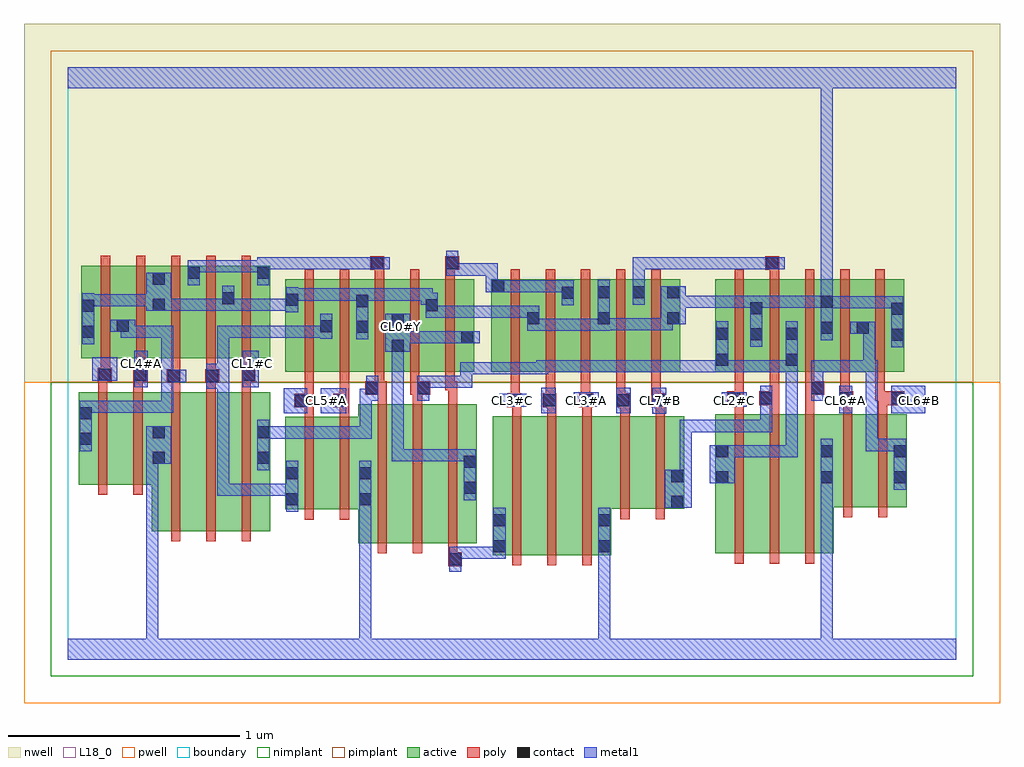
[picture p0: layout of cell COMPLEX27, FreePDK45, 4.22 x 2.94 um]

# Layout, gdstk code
import gdstk
lib = gdstk.Library(unit=1e-6, precision=1e-09)
def R(c, l, rs):  # rectangles x0, y0, x1, y1
    for r in rs: c.add(gdstk.rectangle(r[:2], r[2:], *l))
def A(c, l, x, y, w, h, nx, ny, dx, dy):  # array of equal rectangles
    R(c, l, [(x+i*dx, y+j*dy, x+i*dx+w, y+j*dy+h) for i in range(nx) for j in range(ny)])
active = (1, 0)
pwell = (2, 0)
nwell = (3, 0)
nimplant = (4, 0)
pimplant = (5, 0)
poly = (9, 0)
contact = (10, 0)
metal1 = (11, 0)
L18_0 = (18, 0)
boundary = (235, 0)

complex27 = lib.new_cell('COMPLEX27')
R(complex27, active, [(1.836,0.452,1.896,1.052), (1.836,0.452,2.016,1.052), (2.016,0.452,2.168,1.052), (2.168,0.452,2.348,1.052), (2.288,0.452,2.348,0.652), (2.798,0.46,2.858,1.06), (2.798,0.46,2.978,1.06), (2.978,0.46,3.13,1.06), (3.13,0.46,3.31,1.06), (3.25,0.46,3.31,1.06), (1.256,0.504,1.436,1.104), (1.256,0.504,1.316,0.836), (1.436,0.504,1.588,1.104), (1.588,0.504,1.768,1.104), (1.708,0.524,1.768,1.104), (0.364,0.556,0.424,1.156), (0.364,0.556,0.544,1.156), (0.544,0.556,0.696,1.156), (0.696,0.556,0.876,1.156), (0.816,0.556,0.876,1.156), (0.94,0.65,1,1.05), (0.94,0.65,1.12,1.05), (1.12,0.65,1.316,1.05), (2.288,0.652,2.484,1.052), (2.484,0.652,2.664,1.052), (2.604,0.652,2.664,1.052), (3.25,0.66,3.446,1.06), (3.446,0.66,3.626,1.06), (3.566,0.66,3.626,1.06), (0.048,0.756,0.108,1.156), (0.048,0.756,0.228,1.156), (0.228,0.756,0.424,1.156), (0.94,1.244,1,1.644), (0.94,1.244,1.148,1.644), (1.088,1.244,1.148,1.644), (1.088,1.244,1.304,1.644), (1.244,1.244,1.304,1.644), (1.244,1.244,1.456,1.644), (1.396,1.244,1.456,1.644), (1.396,1.244,1.604,1.644), (1.544,1.244,1.604,1.644), (1.544,1.244,1.756,1.644), (1.696,1.244,1.756,1.644), (1.83,1.244,2.042,1.644), (1.982,1.244,2.19,1.644), (2.13,1.244,2.346,1.644), (2.286,1.244,2.498,1.644), (2.438,1.244,2.646,1.644), (2.586,1.244,2.646,1.644), (2.798,1.244,2.858,1.644), (2.798,1.244,3.006,1.644), (2.946,1.244,3.158,1.644), (3.098,1.244,3.158,1.644), (3.098,1.244,3.31,1.644), (3.25,1.244,3.466,1.644), (3.406,1.244,3.614,1.644), (3.554,1.244,3.614,1.644), (0.06,1.302,0.12,1.702), (0.06,1.302,0.268,1.702), (0.208,1.302,0.424,1.702), (0.364,1.302,0.424,1.702), (0.364,1.302,0.576,1.702), (0.516,1.302,0.576,1.702), (0.516,1.302,0.724,1.702), (0.664,1.302,0.724,1.702), (0.664,1.302,0.876,1.702), (0.816,1.302,0.876,1.702), (2.946,1.336,3.006,1.644), (3.25,1.348,3.31,1.644), (2.286,1.362,2.346,1.644), (3.406,1.404,3.466,1.644), (0.208,1.414,0.268,1.644), (2.13,1.44,2.19,1.644), (1.982,1.446,2.042,1.644), (1.83,1.466,1.89,1.644), (2.438,1.546,2.498,1.644)])
R(complex27, pwell, [(-0.188,-0.188,4.028,1.2)])
R(complex27, nwell, [(-0.188,1.2,4.028,2.748)])
R(complex27, nimplant, [(-0.072,-0.072,3.912,1.2)])
R(complex27, pimplant, [(-0.072,1.2,3.912,2.632)])
A(complex27, poly, 2.882, 0.416, 0.04, 0.688, 3, 1, 0.152, 0)
A(complex27, poly, 1.34, 0.46, 0.04, 0.688, 3, 1, 0.152, 0)
A(complex27, poly, 0.448, 0.512, 0.04, 0.688, 3, 1, 0.152, 0)
A(complex27, poly, 1.914, 1.112, 0.04, 0.128, 5, 1, 0.152, 0)
A(complex27, poly, 1.328, 1.164, 0.04, 0.076, 3, 1, 0.152, 0)
A(complex27, poly, 1.024, 1.2, 0.04, 0.488, 5, 1, 0.152, 0)
A(complex27, poly, 1.914, 1.2, 0.04, 0.488, 5, 1, 0.152, 0)
A(complex27, poly, 2.882, 1.2, 0.04, 0.488, 5, 1, 0.152, 0)
A(complex27, poly, 0.144, 1.258, 0.04, 0.488, 5, 1, 0.152, 0)
R(complex27, poly, [(1.644,0.404,1.704,0.464), (1.92,0.408,1.96,1.132), (2.072,0.408,2.112,1.096), (2.224,0.408,2.264,1.096), (1.644,0.424,1.684,0.5), (1.024,0.606,1.064,1.094), (1.176,0.606,1.216,1.094), (2.388,0.608,2.428,1.096), (2.54,0.608,2.58,1.096), (3.35,0.616,3.39,1.104), (3.502,0.616,3.542,1.104), (0.132,0.712,0.172,1.2), (0.284,0.712,0.324,1.2), (1.024,1.054,1.064,1.13), (1.176,1.054,1.216,1.13), (2.072,1.056,2.112,1.132), (2.224,1.056,2.264,1.132), (2.388,1.056,2.428,1.132), (2.54,1.056,2.58,1.132), (2.882,1.064,2.922,1.14), (3.034,1.064,3.074,1.14), (3.186,1.064,3.226,1.184), (3.35,1.064,3.39,1.14), (3.502,1.064,3.542,1.14), (0.98,1.09,1.064,1.15), (1.024,1.09,1.064,1.13), (1.024,1.09,1.064,1.13), (1.148,1.09,1.216,1.15), (1.176,1.09,1.216,1.13), (1.176,1.09,1.216,1.13), (1.9,1.092,1.96,1.152), (1.92,1.092,1.96,1.132), (2.052,1.092,2.112,1.152), (2.21,1.092,2.27,1.152), (2.37,1.092,2.43,1.152), (2.522,1.092,2.582,1.152), (2.85,1.1,2.922,1.16), (2.882,1.1,2.922,1.14), (2.882,1.1,2.922,1.14), (2.988,1.1,3.074,1.16), (3.334,1.1,3.394,1.16), (3.502,1.1,3.614,1.16), (1.34,1.108,1.38,1.184), (1.492,1.108,1.532,1.184), (1.644,1.108,1.684,1.204), (1.024,1.11,1.064,1.24), (1.176,1.11,1.216,1.24), (1.914,1.112,1.954,1.152), (1.914,1.112,1.954,1.152), (2.066,1.112,2.106,1.152), (2.066,1.112,2.106,1.152), (2.218,1.112,2.258,1.152), (2.218,1.112,2.258,1.152), (2.37,1.112,2.41,1.152), (2.37,1.112,2.41,1.152), (2.522,1.112,2.562,1.152), (2.522,1.112,2.562,1.152), (2.882,1.12,2.922,1.24), (3.034,1.12,3.074,1.24), (3.034,1.12,3.074,1.16), (3.034,1.12,3.074,1.16), (3.338,1.12,3.378,1.24), (3.338,1.12,3.378,1.16), (3.338,1.12,3.378,1.16), (3.49,1.12,3.53,1.24), (3.49,1.12,3.542,1.16), (3.502,1.12,3.542,1.16), (1.286,1.144,1.38,1.204), (1.48,1.144,1.566,1.204), (1.492,1.144,1.532,1.184), (1.492,1.144,1.532,1.184), (3.186,1.144,3.226,1.184), (3.186,1.144,3.226,1.184), (3.186,1.144,3.268,1.204), (0.132,1.16,0.172,1.242), (0.284,1.16,0.324,1.242), (0.448,1.16,0.488,1.236), (0.6,1.16,0.64,1.236), (0.752,1.16,0.792,1.242), (1.328,1.164,1.368,1.204), (1.328,1.164,1.368,1.204), (1.632,1.164,1.672,1.204), (1.632,1.164,1.672,1.204), (1.632,1.164,1.684,1.204), (3.186,1.164,3.226,1.24), (0.428,1.196,0.488,1.256), (0.596,1.196,0.656,1.256), (0.13,1.202,0.19,1.262), (0.284,1.202,0.344,1.262), (0.752,1.202,0.812,1.262), (0.448,1.216,0.488,1.256), (0.448,1.216,0.488,1.256), (0.448,1.216,0.488,1.298), (0.6,1.216,0.64,1.256), (0.6,1.216,0.64,1.256), (0.6,1.216,0.64,1.298), (0.144,1.222,0.184,1.262), (0.144,1.222,0.184,1.262), (0.144,1.222,0.184,1.298), (0.296,1.222,0.336,1.262), (0.296,1.222,0.336,1.262), (0.296,1.222,0.336,1.298), (0.752,1.222,0.792,1.262), (0.752,1.222,0.792,1.262), (0.752,1.222,0.792,1.298), (1.328,1.648,1.368,1.724), (1.632,1.648,1.672,1.724), (3.034,1.648,3.074,1.724), (1.308,1.684,1.368,1.744), (1.632,1.684,1.692,1.744), (3.014,1.684,3.074,1.744)])
R(complex27, contact, [(1.648,0.408,1.7,0.46), (1.84,0.464,1.892,0.516), (2.292,0.464,2.344,0.516), (1.84,0.576,1.892,0.628), (2.292,0.576,2.344,0.628), (2.608,0.656,2.66,0.708), (0.944,0.668,0.996,0.72), (1.26,0.668,1.312,0.72), (1.712,0.718,1.764,0.77), (2.802,0.762,2.854,0.814), (3.254,0.762,3.306,0.814), (3.57,0.762,3.622,0.814), (2.608,0.768,2.66,0.82), (0.944,0.78,0.996,0.832), (1.26,0.78,1.312,0.832), (1.712,0.83,1.764,0.882), (0.368,0.846,0.42,0.898), (0.82,0.846,0.872,0.898), (2.802,0.874,2.854,0.926), (3.254,0.874,3.306,0.926), (3.57,0.874,3.622,0.926), (0.052,0.928,0.104,0.98), (0.368,0.958,0.42,1.01), (0.82,0.958,0.872,1.01), (0.052,1.04,0.104,1.092), (0.984,1.094,1.036,1.146), (1.152,1.094,1.204,1.146), (1.904,1.096,1.956,1.148), (2.056,1.096,2.108,1.148), (2.214,1.096,2.266,1.148), (2.374,1.096,2.426,1.148), (2.526,1.096,2.578,1.148), (2.854,1.104,2.906,1.156), (2.992,1.104,3.044,1.156), (3.338,1.104,3.39,1.156), (3.558,1.104,3.61,1.156), (1.29,1.148,1.342,1.2), (1.51,1.148,1.562,1.2), (3.212,1.148,3.264,1.2), (0.432,1.2,0.484,1.252), (0.6,1.2,0.652,1.252), (0.134,1.206,0.186,1.258), (0.288,1.206,0.34,1.258), (0.756,1.206,0.808,1.258), (2.802,1.27,2.854,1.322), (3.102,1.27,3.154,1.322), (1.4,1.33,1.452,1.382), (1.7,1.368,1.752,1.42), (3.558,1.378,3.61,1.43), (2.95,1.38,3.002,1.432), (2.802,1.382,2.854,1.434), (3.102,1.382,3.154,1.434), (0.064,1.392,0.116,1.444), (3.254,1.408,3.306,1.46), (3.41,1.408,3.462,1.46), (1.248,1.412,1.3,1.464), (1.092,1.414,1.144,1.466), (0.212,1.418,0.264,1.47), (1.4,1.442,1.452,1.494), (1.986,1.45,2.038,1.502), (2.29,1.45,2.342,1.502), (2.59,1.45,2.642,1.502), (3.558,1.49,3.61,1.542), (2.95,1.492,3.002,1.544), (0.064,1.504,0.116,1.556), (1.548,1.506,1.6,1.558), (0.368,1.508,0.42,1.56), (3.254,1.52,3.306,1.572), (1.248,1.524,1.3,1.576), (0.944,1.53,0.996,1.582), (0.668,1.536,0.72,1.588), (2.134,1.56,2.186,1.612), (2.29,1.562,2.342,1.614), (2.442,1.562,2.494,1.614), (2.59,1.562,2.642,1.614), (1.834,1.588,1.886,1.64), (0.368,1.62,0.42,1.672), (0.52,1.646,0.572,1.698), (0.82,1.646,0.872,1.698), (1.312,1.688,1.364,1.74), (1.636,1.688,1.688,1.74), (3.018,1.688,3.07,1.74)])
A(complex27, metal1, 1.4, 0.858, 0.052, 0.052, 3, 1, 0.148, 0)
R(complex27, metal1, [(0,0,3.84,0.092), (0.34,0.04,0.392,0.092), (0.34,0.04,0.392,0.092), (0.34,0.04,0.392,0.898), (1.26,0.04,1.312,0.692), (2.292,0.04,2.344,0.488), (3.254,0.04,3.306,0.092), (3.254,0.04,3.306,0.092), (3.254,0.04,3.306,0.092), (3.254,0.04,3.306,0.092), (3.254,0.04,3.306,0.092), (3.254,0.04,3.306,0.092), (3.254,0.04,3.306,0.092), (3.254,0.04,3.306,0.092), (3.254,0.04,3.306,0.786), (1.648,0.38,1.7,0.488), (1.648,0.436,1.71,0.488), (1.658,0.436,1.71,0.488), (1.658,0.436,1.892,0.488), (1.84,0.436,1.892,0.488), (1.84,0.436,1.892,0.488), (1.84,0.436,1.892,0.656), (2.292,0.436,2.344,0.488), (2.292,0.436,2.344,0.488), (2.292,0.436,2.344,0.488), (2.292,0.436,2.344,0.488), (2.292,0.436,2.344,0.488), (2.292,0.436,2.344,0.488), (2.292,0.436,2.344,0.488), (2.292,0.436,2.344,0.488), (2.292,0.436,2.344,0.656), (0.944,0.64,0.996,0.86), (1.26,0.64,1.312,0.692), (1.26,0.64,1.312,0.692), (1.26,0.64,1.312,0.692), (1.26,0.64,1.312,0.692), (1.26,0.64,1.312,0.692), (1.26,0.64,1.312,0.692), (1.26,0.64,1.312,0.692), (1.26,0.64,1.312,0.692), (1.26,0.64,1.312,0.86), (2.58,0.656,2.696,0.82), (1.712,0.69,1.764,0.91), (0.646,0.708,0.698,0.76), (0.646,0.708,0.698,0.76), (0.646,0.708,0.698,0.76), (0.646,0.708,0.766,0.76), (0.646,0.708,0.698,1.224), (0.714,0.708,0.766,0.76), (0.714,0.708,0.872,0.76), (0.82,0.708,0.872,0.76), (0.82,0.708,0.996,0.76), (3.254,0.734,3.306,0.954), (3.57,0.734,3.622,0.954), (2.774,0.762,2.882,0.926), (2.644,0.768,2.696,1.036), (0.82,0.818,0.872,1.038), (0.34,0.846,0.392,0.898), (0.34,0.846,0.392,0.898), (0.34,0.846,0.392,0.898), (0.34,0.846,0.392,0.898), (0.34,0.846,0.392,0.898), (0.34,0.846,0.392,0.898), (0.34,0.846,0.448,1.01), (1.4,0.858,1.452,0.91), (1.4,0.858,1.452,0.91), (1.4,0.858,1.452,0.91), (1.4,0.858,1.452,0.91), (1.4,0.858,1.452,0.91), (1.4,0.858,1.452,0.91), (1.4,0.858,1.452,0.91), (1.4,0.858,1.452,0.91), (1.4,0.858,1.6,0.91), (1.4,0.858,1.452,1.382), (1.548,0.858,1.748,0.91), (1.696,0.858,1.764,0.91), (2.83,0.874,2.882,0.926), (2.83,0.874,2.882,0.926), (2.83,0.874,2.992,0.926), (2.94,0.874,2.992,0.926), (2.94,0.874,3.154,0.926), (3.102,0.874,3.154,0.926), (3.102,0.874,3.154,0.926), (3.102,0.874,3.154,0.926), (3.102,0.874,3.154,0.926), (3.102,0.874,3.154,0.926), (3.102,0.874,3.154,0.926), (3.102,0.874,3.154,0.926), (3.102,0.874,3.154,1.294), (0.052,0.9,0.104,1.12), (3.448,0.902,3.5,0.954), (3.448,0.902,3.5,0.954), (3.448,0.902,3.5,0.954), (3.448,0.902,3.622,0.954), (3.448,0.902,3.5,1.294), (0.82,0.956,1.034,1.008), (0.982,0.956,1.034,1.008), (0.982,0.956,1.034,1.008), (0.982,0.956,1.034,1.008), (0.982,0.956,1.146,1.008), (1.094,0.956,1.146,1.008), (1.094,0.956,1.146,1.008), (1.094,0.956,1.146,1.008), (1.094,0.956,1.314,1.008), (1.262,0.956,1.314,1.008), (1.262,0.956,1.314,1.172), (2.644,0.984,2.696,1.036), (2.644,0.984,2.696,1.036), (2.644,0.984,2.696,1.036), (2.644,0.984,2.844,1.036), (2.792,0.984,2.844,1.036), (2.792,0.984,3.044,1.036), (2.992,0.984,3.044,1.128), (2.526,1.064,2.586,1.176), (0.934,1.066,1.036,1.174), (1.094,1.066,1.204,1.174), (2.046,1.066,2.108,1.176), (2.37,1.066,2.432,1.176), (3.334,1.066,3.39,1.184), (3.558,1.066,3.706,1.184), (0.052,1.068,0.104,1.12), (0.052,1.068,0.104,1.12), (0.052,1.068,0.26,1.12), (0.208,1.068,0.26,1.12), (0.208,1.068,0.26,1.12), (0.208,1.068,0.26,1.12), (0.208,1.068,0.456,1.12), (0.404,1.068,0.456,1.12), (0.404,1.068,0.456,1.252), (2.992,1.076,3.044,1.128), (2.992,1.076,3.044,1.184), (1.866,1.094,1.984,1.15), (2.186,1.094,2.294,1.156), (2.826,1.094,2.934,1.156), (1.262,1.12,1.314,1.172), (1.262,1.12,1.342,1.172), (1.29,1.12,1.342,1.228), (1.51,1.12,1.562,1.228), (3.212,1.12,3.264,1.228), (0.6,1.172,0.652,1.28), (0.6,1.172,0.698,1.224), (0.646,1.172,0.698,1.224), (0.646,1.172,0.698,1.444), (1.51,1.176,1.6,1.228), (1.548,1.176,1.6,1.228), (1.548,1.176,1.748,1.228), (1.696,1.176,1.748,1.228), (1.696,1.176,1.748,1.228), (1.696,1.176,1.748,1.286), (3.212,1.176,3.264,1.228), (3.212,1.176,3.264,1.294), (0.288,1.178,0.346,1.334), (0.756,1.178,0.826,1.334), (0.404,1.2,0.456,1.252), (0.404,1.2,0.456,1.252), (0.404,1.2,0.512,1.252), (0.404,1.2,0.456,1.444), (0.106,1.206,0.214,1.306), (1.696,1.234,1.928,1.286), (1.876,1.234,1.928,1.286), (1.876,1.234,1.928,1.286), (1.876,1.234,1.928,1.286), (1.876,1.234,2.076,1.286), (2.024,1.234,2.076,1.294), (2.024,1.242,2.076,1.294), (2.024,1.242,2.076,1.294), (2.024,1.242,2.186,1.294), (2.134,1.242,2.186,1.294), (2.134,1.242,2.186,1.294), (2.134,1.242,2.186,1.294), (2.134,1.242,2.354,1.294), (2.302,1.242,2.354,1.294), (2.302,1.242,2.354,1.294), (2.302,1.242,2.354,1.294), (2.302,1.242,2.354,1.294), (2.302,1.242,2.354,1.294), (2.302,1.242,2.504,1.294), (2.452,1.242,2.504,1.294), (2.452,1.242,2.504,1.294), (2.452,1.242,2.504,1.294), (2.452,1.242,2.696,1.294), (2.644,1.242,2.696,1.294), (2.644,1.242,2.854,1.294), (2.802,1.242,2.854,1.294), (2.802,1.242,2.854,1.294), (2.802,1.242,2.854,1.462), (2.802,1.242,3.044,1.294), (2.992,1.242,3.044,1.294), (2.992,1.242,3.044,1.294), (2.992,1.242,3.044,1.294), (2.992,1.242,3.154,1.294), (3.102,1.242,3.154,1.462), (3.212,1.242,3.39,1.294), (3.338,1.242,3.39,1.294), (3.338,1.242,3.49,1.294), (3.438,1.242,3.49,1.46), (3.438,1.242,3.5,1.294), (3.448,1.242,3.5,1.294), (3.448,1.242,3.5,1.294), (1.372,1.33,1.48,1.494), (3.558,1.35,3.61,1.57), (2.95,1.352,3.002,1.572), (0.064,1.364,0.116,1.584), (1.428,1.368,1.48,1.42), (1.428,1.368,1.48,1.42), (1.428,1.368,1.6,1.42), (1.548,1.368,1.6,1.42), (1.548,1.368,1.724,1.42), (1.672,1.368,1.724,1.42), (1.672,1.368,1.724,1.42), (1.672,1.368,1.78,1.42), (3.254,1.38,3.306,1.6), (1.248,1.384,1.3,1.604), (1.092,1.386,1.144,1.494), (0.23,1.392,0.282,1.444), (0.23,1.392,0.282,1.444), (0.23,1.392,0.282,1.444), (0.23,1.392,0.456,1.444), (0.23,1.392,0.282,1.47), (0.404,1.392,0.456,1.444), (0.646,1.392,0.698,1.444), (0.646,1.392,0.766,1.444), (0.714,1.392,0.766,1.444), (0.714,1.392,0.876,1.444), (0.824,1.392,0.876,1.444), (0.824,1.392,0.876,1.444), (0.824,1.392,0.876,1.444), (0.824,1.392,0.876,1.444), (0.824,1.392,0.876,1.444), (0.824,1.392,1.036,1.444), (0.984,1.392,1.036,1.444), (0.984,1.392,1.144,1.444), (3.382,1.408,3.49,1.46), (0.184,1.418,0.292,1.47), (1.986,1.422,2.038,1.474), (1.986,1.422,2.038,1.474), (1.986,1.422,2.038,1.53), (1.986,1.422,2.186,1.474), (2.134,1.422,2.186,1.474), (2.134,1.422,2.186,1.474), (2.134,1.422,2.186,1.474), (2.134,1.422,2.342,1.474), (2.29,1.422,2.342,1.642), (2.29,1.424,2.342,1.476), (2.29,1.424,2.342,1.476), (2.29,1.424,2.464,1.476), (2.412,1.424,2.464,1.476), (2.412,1.424,2.464,1.476), (2.412,1.424,2.464,1.476), (2.412,1.424,2.614,1.476), (2.562,1.424,2.614,1.476), (2.562,1.424,2.614,1.502), (2.562,1.45,2.67,1.614), (1.548,1.478,1.71,1.53), (1.548,1.478,1.6,1.586), (1.658,1.478,1.71,1.53), (1.658,1.478,1.71,1.53), (1.658,1.478,1.71,1.53), (1.658,1.478,1.928,1.53), (1.876,1.478,1.928,1.53), (1.876,1.478,1.928,1.53), (1.876,1.478,1.928,1.53), (1.876,1.478,2.038,1.53), (0.944,1.502,0.996,1.61), (0.34,1.508,0.448,1.672), (0.396,1.508,0.456,1.56), (0.404,1.508,0.456,1.56), (0.404,1.508,0.566,1.56), (0.514,1.508,0.566,1.56), (0.514,1.508,0.566,1.56), (0.514,1.508,0.566,1.56), (0.514,1.508,0.72,1.56), (0.668,1.508,0.72,1.616), (0.668,1.508,0.766,1.56), (0.714,1.508,0.766,1.56), (0.714,1.508,0.876,1.56), (0.824,1.508,0.876,1.56), (0.824,1.508,0.996,1.56), (3.254,1.518,3.39,1.57), (3.338,1.518,3.39,1.57), (3.338,1.518,3.416,1.57), (3.364,1.518,3.416,1.57), (3.364,1.518,3.61,1.57), (3.558,1.518,3.61,1.57), (3.558,1.518,3.61,1.57), (2.618,1.52,2.844,1.572), (2.792,1.52,2.844,1.572), (2.792,1.52,2.844,1.572), (2.792,1.52,2.844,1.572), (2.792,1.52,3.002,1.572), (2.95,1.52,3.154,1.572), (3.102,1.52,3.154,1.572), (3.102,1.52,3.154,1.572), (3.102,1.52,3.154,1.572), (3.102,1.52,3.264,1.572), (3.212,1.52,3.264,1.572), (3.212,1.52,3.306,1.572), (0.064,1.528,0.116,1.58), (0.064,1.528,0.116,1.58), (0.064,1.528,0.282,1.58), (0.23,1.528,0.282,1.58), (0.23,1.528,0.282,1.58), (0.23,1.528,0.282,1.58), (0.23,1.528,0.392,1.58), (2.134,1.532,2.186,1.64), (1.526,1.534,1.6,1.586), (1.526,1.534,1.578,1.604), (2.442,1.534,2.494,1.642), (3.254,1.548,3.306,1.6), (3.254,1.548,3.306,1.6), (3.254,1.548,3.306,1.6), (3.254,1.548,3.306,1.6), (3.254,1.548,3.306,1.6), (3.254,1.548,3.306,1.6), (3.254,1.548,3.306,1.6), (3.254,1.548,3.306,1.6), (3.254,1.548,3.306,1.6), (3.254,1.548,3.306,1.6), (3.254,1.548,3.306,1.6), (3.254,1.548,3.306,1.6), (3.254,1.548,3.306,1.6), (3.254,1.548,3.306,1.6), (3.254,1.548,3.306,2.52), (0.944,1.552,0.996,1.604), (0.944,1.552,0.996,1.604), (0.944,1.552,1.146,1.604), (1.094,1.552,1.146,1.604), (1.094,1.552,1.146,1.604), (1.094,1.552,1.146,1.604), (1.094,1.552,1.3,1.604), (1.248,1.552,1.3,1.604), (1.248,1.552,1.3,1.604), (1.248,1.552,1.49,1.604), (1.438,1.552,1.49,1.604), (1.438,1.552,1.578,1.604), (1.806,1.588,1.914,1.64), (1.806,1.588,1.858,1.712), (1.862,1.588,1.914,1.64), (1.862,1.588,1.914,1.64), (1.862,1.588,2.076,1.64), (2.024,1.588,2.076,1.64), (2.024,1.588,2.076,1.64), (2.024,1.588,2.076,1.64), (2.024,1.588,2.186,1.64), (2.442,1.59,2.494,1.74), (0.52,1.618,0.572,1.726), (0.82,1.618,0.872,1.726), (1.636,1.66,1.688,1.768), (1.636,1.66,1.71,1.712), (1.658,1.66,1.71,1.712), (1.658,1.66,1.858,1.712), (1.806,1.66,1.858,1.712), (0.52,1.674,0.572,1.726), (0.52,1.674,0.572,1.726), (0.52,1.674,0.762,1.726), (0.71,1.674,0.762,1.726), (0.71,1.674,0.762,1.726), (0.71,1.674,0.762,1.726), (0.71,1.674,0.872,1.726), (0.82,1.674,0.872,1.74), (0.82,1.688,0.872,1.74), (0.82,1.688,0.986,1.74), (0.934,1.688,0.986,1.74), (0.934,1.688,0.986,1.74), (0.934,1.688,0.986,1.74), (0.934,1.688,1.146,1.74), (1.094,1.688,1.146,1.74), (1.094,1.688,1.146,1.74), (1.094,1.688,1.146,1.74), (1.094,1.688,1.256,1.74), (1.204,1.688,1.256,1.74), (1.204,1.688,1.336,1.74), (1.284,1.688,1.392,1.74), (2.442,1.688,2.494,1.74), (2.442,1.688,2.494,1.74), (2.442,1.688,2.494,1.74), (2.442,1.688,2.734,1.74), (2.682,1.688,2.734,1.74), (2.682,1.688,2.734,1.74), (2.682,1.688,2.734,1.74), (2.682,1.688,2.892,1.74), (2.84,1.688,2.892,1.74), (2.84,1.688,3.042,1.74), (2.99,1.688,3.042,1.74), (2.99,1.688,3.042,1.74), (2.99,1.688,3.098,1.74), (0,2.468,3.84,2.56), (3.254,2.468,3.306,2.52), (3.254,2.468,3.306,2.52)])
A(complex27, L18_0, 1.4, 0.858, 0.052, 0.052, 3, 1, 0.148, 0)
A(complex27, L18_0, 1.894, 1.094, 0.052, 0.052, 5, 1, 0.16, 0)
R(complex27, L18_0, [(0,0,3.84,0.092), (0.34,0.04,0.392,0.092), (0.34,0.04,0.392,0.092), (0.34,0.04,0.392,0.898), (1.26,0.04,1.312,0.692), (2.292,0.04,2.344,0.488), (3.254,0.04,3.306,0.092), (3.254,0.04,3.306,0.092), (3.254,0.04,3.306,0.092), (3.254,0.04,3.306,0.092), (3.254,0.04,3.306,0.092), (3.254,0.04,3.306,0.092), (3.254,0.04,3.306,0.092), (3.254,0.04,3.306,0.092), (3.254,0.04,3.306,0.786), (2.292,0.436,2.344,0.656), (2.292,0.436,2.344,0.488), (2.292,0.436,2.344,0.488), (2.292,0.436,2.344,0.488), (2.292,0.436,2.344,0.488), (2.292,0.436,2.344,0.488), (2.292,0.436,2.344,0.488), (2.292,0.436,2.344,0.488), (2.292,0.436,2.344,0.488), (1.26,0.64,1.312,0.86), (1.26,0.64,1.312,0.692), (1.26,0.64,1.312,0.692), (1.26,0.64,1.312,0.692), (1.26,0.64,1.312,0.692), (1.26,0.64,1.312,0.692), (1.26,0.64,1.312,0.692), (1.26,0.64,1.312,0.692), (1.26,0.64,1.312,0.692), (1.712,0.69,1.764,0.91), (3.254,0.734,3.306,0.954), (0.34,0.846,0.392,0.898), (0.34,0.846,0.392,0.898), (0.34,0.846,0.392,0.898), (0.34,0.846,0.392,0.898), (0.34,0.846,0.392,0.898), (0.34,0.846,0.392,0.898), (0.34,0.846,0.448,1.01), (1.4,0.858,1.452,0.91), (1.4,0.858,1.452,0.91), (1.4,0.858,1.452,0.91), (1.4,0.858,1.452,0.91), (1.4,0.858,1.452,0.91), (1.4,0.858,1.452,0.91), (1.4,0.858,1.452,0.91), (1.4,0.858,1.452,0.91), (1.4,0.858,1.452,1.382), (1.4,0.858,1.6,0.91), (1.548,0.858,1.748,0.91), (1.696,0.858,1.764,0.91), (2.526,1.064,2.586,1.176), (0.934,1.066,1.036,1.174), (1.094,1.066,1.204,1.174), (2.046,1.066,2.108,1.176), (2.37,1.066,2.432,1.176), (3.334,1.066,3.39,1.184), (3.558,1.066,3.706,1.184), (0.934,1.094,0.986,1.146), (1.094,1.094,1.146,1.146), (1.866,1.094,1.984,1.15), (2.186,1.094,2.294,1.156), (2.826,1.094,2.934,1.156), (2.854,1.094,2.906,1.146), (3.334,1.094,3.386,1.146), (3.654,1.094,3.706,1.146), (0.288,1.178,0.346,1.334), (0.756,1.178,0.826,1.334), (0.106,1.206,0.214,1.306), (0.134,1.254,0.186,1.306), (0.294,1.254,0.346,1.306), (0.774,1.254,0.826,1.306), (1.372,1.33,1.48,1.494), (3.558,1.35,3.61,1.57), (2.95,1.352,3.002,1.572), (0.064,1.364,0.116,1.584), (1.428,1.368,1.48,1.42), (1.428,1.368,1.48,1.42), (1.428,1.368,1.6,1.42), (1.548,1.368,1.6,1.42), (1.548,1.368,1.724,1.42), (1.672,1.368,1.724,1.42), (1.672,1.368,1.724,1.42), (1.672,1.368,1.78,1.42), (3.254,1.38,3.306,1.6), (1.248,1.384,1.3,1.604), (1.414,1.414,1.466,1.466), (1.986,1.422,2.038,1.474), (1.986,1.422,2.038,1.474), (1.986,1.422,2.038,1.53), (1.986,1.422,2.186,1.474), (2.134,1.422,2.186,1.474), (2.134,1.422,2.186,1.474), (2.134,1.422,2.186,1.474), (2.134,1.422,2.342,1.474), (2.29,1.422,2.342,1.642), (2.29,1.424,2.342,1.476), (2.29,1.424,2.342,1.476), (2.29,1.424,2.464,1.476), (2.412,1.424,2.464,1.476), (2.412,1.424,2.464,1.476), (2.412,1.424,2.464,1.476), (2.412,1.424,2.614,1.476), (2.562,1.424,2.614,1.476), (2.562,1.424,2.614,1.502), (2.562,1.45,2.67,1.614), (1.548,1.478,1.71,1.53), (1.548,1.478,1.6,1.586), (1.658,1.478,1.71,1.53), (1.658,1.478,1.71,1.53), (1.658,1.478,1.71,1.53), (1.658,1.478,1.928,1.53), (1.876,1.478,1.928,1.53), (1.876,1.478,1.928,1.53), (1.876,1.478,1.928,1.53), (1.876,1.478,2.038,1.53), (0.944,1.502,0.996,1.61), (0.34,1.508,0.448,1.672), (0.396,1.508,0.456,1.56), (0.404,1.508,0.456,1.56), (0.404,1.508,0.566,1.56), (0.514,1.508,0.566,1.56), (0.514,1.508,0.566,1.56), (0.514,1.508,0.566,1.56), (0.514,1.508,0.72,1.56), (0.668,1.508,0.72,1.616), (0.668,1.508,0.766,1.56), (0.714,1.508,0.766,1.56), (0.714,1.508,0.876,1.56), (0.824,1.508,0.876,1.56), (0.824,1.508,0.996,1.56), (3.254,1.518,3.39,1.57), (3.338,1.518,3.39,1.57), (3.338,1.518,3.416,1.57), (3.364,1.518,3.416,1.57), (3.364,1.518,3.61,1.57), (3.558,1.518,3.61,1.57), (3.558,1.518,3.61,1.57), (2.618,1.52,2.844,1.572), (2.792,1.52,2.844,1.572), (2.792,1.52,2.844,1.572), (2.792,1.52,2.844,1.572), (2.792,1.52,3.002,1.572), (2.95,1.52,3.154,1.572), (3.102,1.52,3.154,1.572), (3.102,1.52,3.154,1.572), (3.102,1.52,3.154,1.572), (3.102,1.52,3.264,1.572), (3.212,1.52,3.264,1.572), (3.212,1.52,3.306,1.572), (0.064,1.528,0.116,1.58), (0.064,1.528,0.116,1.58), (0.064,1.528,0.282,1.58), (0.23,1.528,0.282,1.58), (0.23,1.528,0.282,1.58), (0.23,1.528,0.282,1.58), (0.23,1.528,0.392,1.58), (1.526,1.534,1.578,1.604), (1.526,1.534,1.6,1.586), (3.254,1.548,3.306,1.6), (3.254,1.548,3.306,1.6), (3.254,1.548,3.306,1.6), (3.254,1.548,3.306,1.6), (3.254,1.548,3.306,1.6), (3.254,1.548,3.306,1.6), (3.254,1.548,3.306,1.6), (3.254,1.548,3.306,1.6), (3.254,1.548,3.306,1.6), (3.254,1.548,3.306,1.6), (3.254,1.548,3.306,1.6), (3.254,1.548,3.306,1.6), (3.254,1.548,3.306,1.6), (3.254,1.548,3.306,1.6), (3.254,1.548,3.306,2.52), (0.944,1.552,0.996,1.604), (0.944,1.552,0.996,1.604), (0.944,1.552,1.146,1.604), (1.094,1.552,1.146,1.604), (1.094,1.552,1.146,1.604), (1.094,1.552,1.146,1.604), (1.094,1.552,1.3,1.604), (1.248,1.552,1.3,1.604), (1.248,1.552,1.3,1.604), (1.248,1.552,1.49,1.604), (1.438,1.552,1.49,1.604), (1.438,1.552,1.578,1.604), (0,2.468,3.84,2.56), (3.254,2.468,3.306,2.52), (3.254,2.468,3.306,2.52)])
R(complex27, boundary, [(0,0,3.84,2.56)])
complex27.add(gdstk.Label('CL0#Y', (1.44,1.44), layer=11, texttype=0))
complex27.add(gdstk.Label('CL1#C', (0.8,1.28), layer=11, texttype=0))
complex27.add(gdstk.Label('CL2#C', (2.88,1.12), layer=11, texttype=0))
complex27.add(gdstk.Label('CL3#A', (2.24,1.12), layer=11, texttype=0))
complex27.add(gdstk.Label('CL3#B', (2.08,1.12), layer=11, texttype=0))
complex27.add(gdstk.Label('CL3#C', (1.92,1.12), layer=11, texttype=0))
complex27.add(gdstk.Label('CL4#A', (0.32,1.28), layer=11, texttype=0))
complex27.add(gdstk.Label('CL4#B', (0.16,1.28), layer=11, texttype=0))
complex27.add(gdstk.Label('CL5#A', (1.12,1.12), layer=11, texttype=0))
complex27.add(gdstk.Label('CL5#B', (0.96,1.12), layer=11, texttype=0))
complex27.add(gdstk.Label('CL6#A', (3.36,1.12), layer=11, texttype=0))
complex27.add(gdstk.Label('CL6#B', (3.68,1.12), layer=11, texttype=0))
complex27.add(gdstk.Label('CL7#A', (2.4,1.12), layer=11, texttype=0))
complex27.add(gdstk.Label('CL7#B', (2.56,1.12), layer=11, texttype=0))

lib.write_gds('COMPLEX27.gds')
